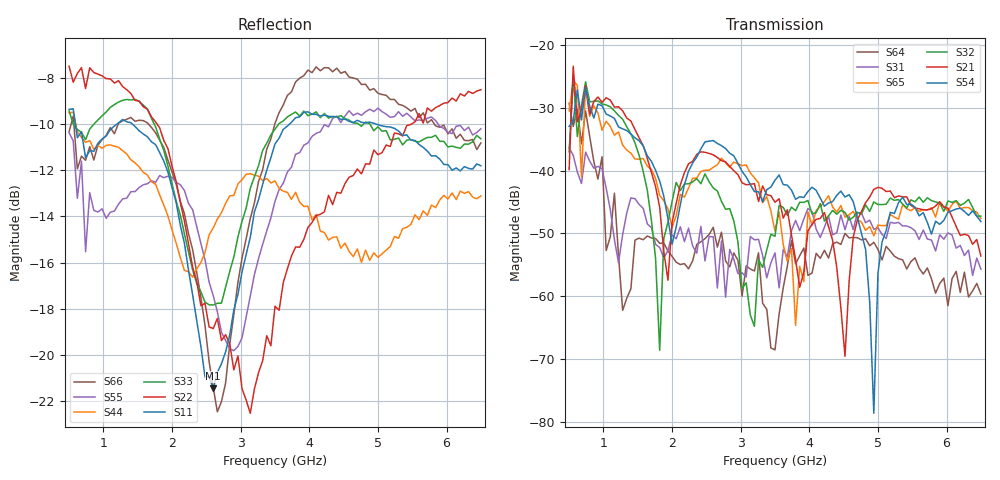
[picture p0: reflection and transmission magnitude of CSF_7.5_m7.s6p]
!Keysight Technologies,M9804A,MY58100912,A.14.10.03
!Date: Thursday, April 27, 2023 10:28:33
!Correction: S11(C  6-Port  )
!S12(C  6-Port  )
!S13(C  6-Port  )
!S14(C  6-Port  )
!S15(C  6-Port  )
!S16(C  6-Port  )
!S21(C  6-Port  )
!S22(C  6-Port  )
!S23(C  6-Port  )
!S24(C  6-Port  )
!S25(C  6-Port  )
!S26(C  6-Port  )
!S31(C  6-Port  )
!S32(C  6-Port  )
!S33(C  6-Port  )
!S34(C  6-Port  )
!S35(C  6-Port  )
!S36(C  6-Port  )
!S41(C  6-Port  )
!S42(C  6-Port  )
!S43(C  6-Port  )
!S44(C  6-Port  )
!S45(C  6-Port  )
!S46(C  6-Port  )
!S51(C  6-Port  )
!S52(C  6-Port  )
!S53(C  6-Port  )
!S54(C  6-Port  )
!S55(C  6-Port  )
!S56(C  6-Port  )
!S61(C  6-Port  )
!S62(C  6-Port  )
!S63(C  6-Port  )
!S64(C  6-Port  )
!S65(C  6-Port  )
!S66(C  6-Port  )
!S6P File: Measurement: :
# Hz S  RI  R 50
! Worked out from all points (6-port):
!   101 points, 500 MHz to 6.5 GHz, reference 50 ohm
!   strongest paths, dB at 500 MHz, 2 GHz, 3.5 GHz, 5 GHz, 6.5 GHz:
!     S54: -33.0, -51.7, -41.5, -56.4, -48.1
!     S21: -39.8, -48.3, -45.0, -42.7, -53.6
!     S32: -37.0, -44.9, -50.5, -45.4, -47.2
!     S65: -30.5, -49.0, -49.6, -48.6, -47.6
!     S31: -36.3, -50.2, -53.1, -49.1, -55.7
!     S64: -29.3, -53.6, -68.5, -52.5, -59.6
!   lowest |S11| = -21.4 dB at 2.6 GHz (marker M1), VSWR 1.18, Z = 42.5 + j2.17 ohm
!   |S11| at or under -10 dB: 591.5 MHz to 1.198 GHz (606.9 MHz wide, 67.8 % of centre); 1.422 GHz to 3.713 GHz (2.291 GHz wide, 89.2 % of centre); 4.971 GHz to end of sweep
